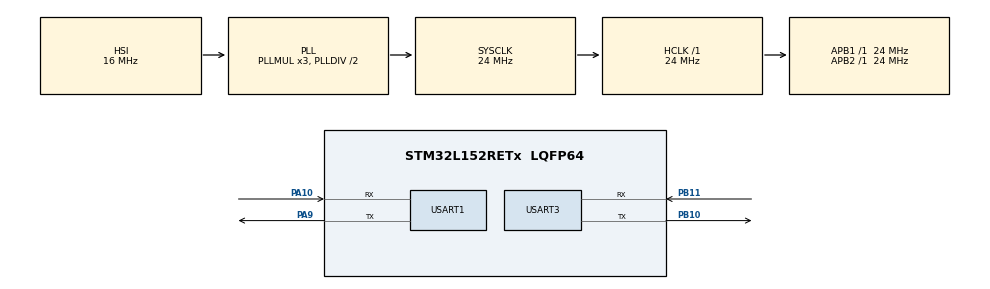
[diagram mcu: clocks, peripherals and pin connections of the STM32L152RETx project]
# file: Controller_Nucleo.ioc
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Mcu.Family=STM32L1
Mcu.Name=STM32L152RETx
Mcu.Package=LQFP64
NVIC.PriorityGroup=NVIC_PRIORITYGROUP_4
NVIC.USART1_IRQn=true\:0\:0\:false\:false\:true\:true\:true
NVIC.USART3_IRQn=true\:0\:0\:false\:false\:true\:true\:true
PA10.Mode=Asynchronous
PA10.Signal=USART1_RX
PA9.Mode=Asynchronous
PA9.Signal=USART1_TX
PB10.Mode=Asynchronous
PB10.Signal=USART3_TX
PB11.Mode=Asynchronous
PB11.Signal=USART3_RX
PC14-OSC32_IN.Mode=LSE-External-Oscillator
PC14-OSC32_IN.Signal=RCC_OSC32_IN
PC15-OSC32_OUT.Mode=LSE-External-Oscillator
PC15-OSC32_OUT.Signal=RCC_OSC32_OUT
PH0-OSC_IN.Mode=HSE-External-Oscillator
PH0-OSC_IN.Signal=RCC_OSC_IN
PH1-OSC_OUT.Mode=HSE-External-Oscillator
PH1-OSC_OUT.Signal=RCC_OSC_OUT
ProjectManager.HeapSize=0x200
ProjectManager.StackSize=0x400
ProjectManager.TargetToolchain=STM32CubeIDE
RCC.AHBFreq_Value=24000000
RCC.APB1Freq_Value=24000000
RCC.APB1TimFreq_Value=24000000
RCC.APB2Freq_Value=24000000
RCC.APB2TimFreq_Value=24000000
RCC.HCLKFreq_Value=24000000
RCC.HSE_VALUE=24000000
RCC.HSI_VALUE=16000000
RCC.MSI_VALUE=2097000
RCC.SYSCLKFreq_VALUE=24000000
RCC.SYSCLKSource=RCC_SYSCLKSOURCE_PLLCLK
RCC.VCOOutputFreq_Value=48000000
USART1.VirtualMode=VM_ASYNC
USART3.VirtualMode=VM_ASYNC
board=custom

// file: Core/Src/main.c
/* USER CODE BEGIN Header */
/**
  ******************************************************************************
  * @file           : main.c
  * @brief          : Main program body
  ******************************************************************************
  * @attention
  *
  * <h2><center>&copy; Copyright (c) 2020 STMicroelectronics.
  * All rights reserved.</center></h2>
  *
  * This software component is licensed by ST under BSD 3-Clause license,
  * the "License"; You may not use this file except in compliance with the
  * License. You may obtain a copy of the License at:
  *                        opensource.org/licenses/BSD-3-Clause
  *
  ******************************************************************************
  */
/* USER CODE END Header */
#include "main.h"

/* USER CODE BEGIN Includes */
#include "protocol.h"
/* USER CODE END Includes */

UART_HandleTypeDef huart1;
UART_HandleTypeDef huart3;

/* USER CODE BEGIN PV */
SystemState curr_state = Idle_State, next_state;
extern uint8_t up_buffer[];
extern uint8_t down_buffer[];
extern uint16_t num_bytes_up;
extern uint16_t num_bytes_down;
extern uint16_t waiting_read_down;
/* USER CODE END PV */

void SystemClock_Config(void);
static void MX_GPIO_Init(void);
static void MX_USART1_UART_Init(void);
static void MX_USART3_UART_Init(void);

int main(void)
{

  /* MCU Configuration--------------------------------------------------------*/

  /* Reset of all peripherals, Initializes the Flash interface and the Systick. */
  HAL_Init();

  /* Configure the system clock */
  SystemClock_Config();

  /* Initialize all configured peripherals */
  MX_GPIO_Init();
  MX_USART1_UART_Init();
  MX_USART3_UART_Init();
  /* USER CODE BEGIN 2 */

  init_configuration();

  header_t header;
  body_t body;
  uint8_t err = 0;

  /* USER CODE END 2 */

  /* Infinite loop */
  while (1)
  {

    /* USER CODE BEGIN 3 */
	  switch (curr_state) {
	  case Idle_State:
		  break;

	  case Read_Header_State:
		  err = parse_header((uint8_t *)&up_buffer, &header);
		  next_state = header_handler(&header);
		  break;

	  case Read_Region_State:
	  case Read_Sensors_State:
		  err = parse_body((uint8_t *)&up_buffer, &body);
		  next_state = body_handler(&body);
		  break;

	  case Transport_State:
		  transmit_buffer((uint8_t *)&down_buffer, num_bytes_down);

		  // ACK received. Prepare to receive body from down
		  if (num_bytes_down == 15 && waiting_read_down == 1) {
			  num_bytes_down = 0;
			  HAL_UART_Receive_IT(&huart3, (uint8_t *)&down_buffer, MAX_BUFFER_SIZE);
		  } else {
			  // Prepare to received a header
			  num_bytes_down = 0;
			  HAL_UART_Receive_IT(&huart3, (uint8_t *)&down_buffer, 15);
		  }

		  next_state = Idle_State;
		  break;

	  case Execute_Code_State:
		  break;
	  default:
		  break;
	  }

	  /// Each slave makes use of two USARTs, being those 1 and 3
	  ///   USART1 will be used to receive data
	  ///   USART3 will be used to transmit data
	  ///
	  /// The package should go up the chain without any type of intervention
	  if (num_bytes_up == 15) {
		  	num_bytes_up = 0;
	  		next_state = Read_Header_State;
	  } else if (num_bytes_up == MAX_BUFFER_SIZE) {
		  num_bytes_up = 0;
		  next_state = Read_Region_State;
	  } else if(waiting_read_down == 1 && num_bytes_down == MAX_BUFFER_SIZE) {
		  waiting_read_down = 0;
		  next_state = Transport_State;
	  } else if (num_bytes_down == 15) {
	  		next_state = Transport_State;
	  }
	  curr_state = next_state;

//  curr_state = next_state;
  } // end while
  /* USER CODE END 3 */
}

void SystemClock_Config(void)
{
  RCC_OscInitTypeDef RCC_OscInitStruct = {0};
  RCC_ClkInitTypeDef RCC_ClkInitStruct = {0};

  /** Configure the main internal regulator output voltage
  */
  __HAL_PWR_VOLTAGESCALING_CONFIG(PWR_REGULATOR_VOLTAGE_SCALE1);
  /** Initializes the RCC Oscillators according to the specified parameters
  * in the RCC_OscInitTypeDef structure.
  */
  RCC_OscInitStruct.OscillatorType = RCC_OSCILLATORTYPE_HSI;
  RCC_OscInitStruct.HSIState = RCC_HSI_ON;
  RCC_OscInitStruct.HSICalibrationValue = RCC_HSICALIBRATION_DEFAULT;
  RCC_OscInitStruct.PLL.PLLState = RCC_PLL_ON;
  RCC_OscInitStruct.PLL.PLLSource = RCC_PLLSOURCE_HSI;
  RCC_OscInitStruct.PLL.PLLMUL = RCC_PLL_MUL3;
  RCC_OscInitStruct.PLL.PLLDIV = RCC_PLL_DIV2;
  if (HAL_RCC_OscConfig(&RCC_OscInitStruct) != HAL_OK)
  {
    Error_Handler();
  }
  /** Initializes the CPU, AHB and APB buses clocks
  */
  RCC_ClkInitStruct.ClockType = RCC_CLOCKTYPE_HCLK|RCC_CLOCKTYPE_SYSCLK
                              |RCC_CLOCKTYPE_PCLK1|RCC_CLOCKTYPE_PCLK2;
  RCC_ClkInitStruct.SYSCLKSource = RCC_SYSCLKSOURCE_PLLCLK;
  RCC_ClkInitStruct.AHBCLKDivider = RCC_SYSCLK_DIV1;
  RCC_ClkInitStruct.APB1CLKDivider = RCC_HCLK_DIV1;
  RCC_ClkInitStruct.APB2CLKDivider = RCC_HCLK_DIV1;

  if (HAL_RCC_ClockConfig(&RCC_ClkInitStruct, FLASH_LATENCY_1) != HAL_OK)
  {
    Error_Handler();
  }
}

static void MX_USART1_UART_Init(void)
{

  huart1.Instance = USART1;
  huart1.Init.BaudRate = 115200;
  huart1.Init.WordLength = UART_WORDLENGTH_8B;
  huart1.Init.StopBits = UART_STOPBITS_1;
  huart1.Init.Parity = UART_PARITY_NONE;
  huart1.Init.Mode = UART_MODE_TX_RX;
  huart1.Init.HwFlowCtl = UART_HWCONTROL_NONE;
  huart1.Init.OverSampling = UART_OVERSAMPLING_16;
  if (HAL_UART_Init(&huart1) != HAL_OK)
  {
    Error_Handler();
  }

}

static void MX_USART3_UART_Init(void)
{

  huart3.Instance = USART3;
  huart3.Init.BaudRate = 115200;
  huart3.Init.WordLength = UART_WORDLENGTH_8B;
  huart3.Init.StopBits = UART_STOPBITS_1;
  huart3.Init.Parity = UART_PARITY_NONE;
  huart3.Init.Mode = UART_MODE_TX_RX;
  huart3.Init.HwFlowCtl = UART_HWCONTROL_NONE;
  huart3.Init.OverSampling = UART_OVERSAMPLING_16;
  if (HAL_UART_Init(&huart3) != HAL_OK)
  {
    Error_Handler();
  }

}

static void MX_GPIO_Init(void)
{

  /* GPIO Ports Clock Enable */
  __HAL_RCC_GPIOC_CLK_ENABLE();
  __HAL_RCC_GPIOH_CLK_ENABLE();
  __HAL_RCC_GPIOB_CLK_ENABLE();
  __HAL_RCC_GPIOA_CLK_ENABLE();

}

/* USER CODE BEGIN 4 */

/// Executed when the USART has sent data
///
/// Clean the buffer
//void HAL_UART_TxCpltCallback(UART_HandleTypeDef *huart) {
//
//}
//void HAL_UART_RxCpltCallback(UART_HandleTypeDef *huart)
//{
//	__disable_irq();
//	if(huart->Instance == USART1) {
//		num_bytes_up = huart->RxXferSize;
//	} else if (huart->Instance == USART3) {
//		num_bytes_down = huart->RxXferSize;
//	}
//
//	if (num_bytes_up == 15 || num_bytes_down == 15) {
//		next_state = Read_Header_State;
//	};
//	__enable_irq();

//}
/* USER CODE END 4 */

void Error_Handler(void)
{
  /* USER CODE BEGIN Error_Handler_Debug */
  /* User can add his own implementation to report the HAL error return state */
  __disable_irq();
  while (1)
  {
  };
  /* USER CODE END Error_Handler_Debug */
}

/************************ (C) COPYRIGHT STMicroelectronics *****END OF FILE****/
